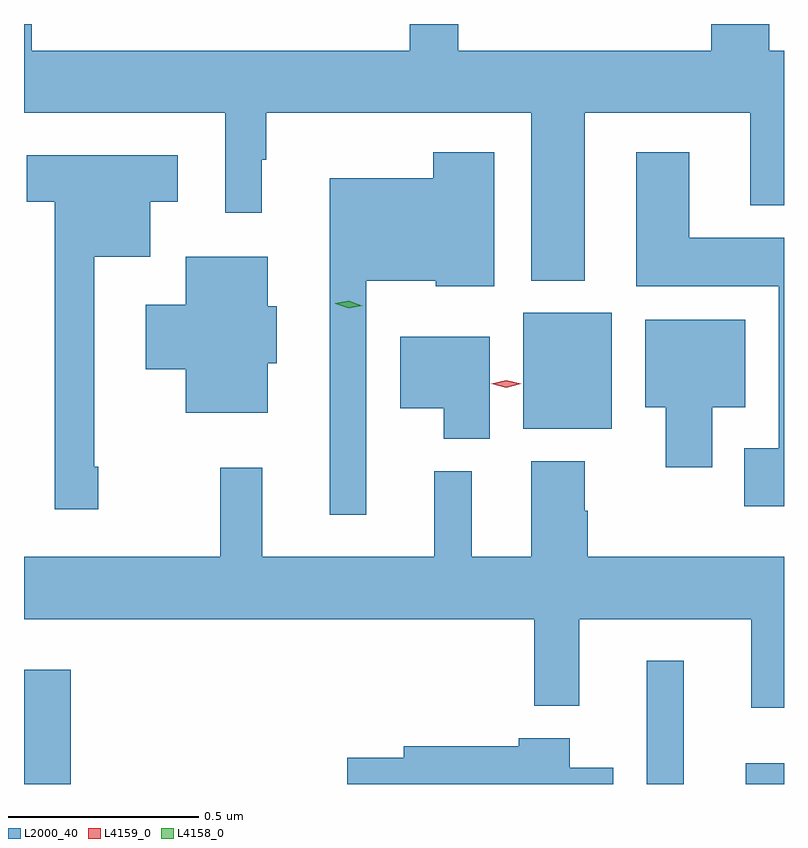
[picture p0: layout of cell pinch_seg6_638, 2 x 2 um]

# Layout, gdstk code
import gdstk
lib = gdstk.Library(unit=1e-6, precision=1e-09)
def R(c, l, rs):  # rectangles x0, y0, x1, y1
    for r in rs: c.add(gdstk.rectangle(r[:2], r[2:], *l))
def P(c, l, *ps):  # polygons
    for p in ps: c.add(gdstk.Polygon(p, *l))
L2000_40 = (2000, 40)
L4158_0 = (4158, 0)
L4159_0 = (4159, 0)

pinch_seg6_638 = lib.new_cell('pinch_seg6_638')
R(pinch_seg6_638, L2000_40, [(495.044,973.542,495.167,973.843), (496.683,973.542,496.78,973.867), (496.943,973.542,497.044,973.597), (496.358,974.477,496.591,974.782)])
P(pinch_seg6_638, L2000_40, [(496.519,975.308),(496.955,975.308),(496.955,975.065),(497.044,975.065),(497.044,975.472),(497.005,975.472),(497.005,975.542),(496.853,975.542),(496.853,975.472),(496.187,975.472),(496.187,975.542),(496.059,975.542),(496.059,975.472),(495.064,975.472),(495.064,975.542),(495.044,975.542),(495.044,975.308),(495.573,975.308),(495.573,975.045),(495.67,975.045),(495.67,975.185),(495.682,975.185),(495.682,975.308),(496.379,975.308),(496.379,974.867),(496.519,974.867)],
  [(497.044,974.98),(496.795,974.98),(496.795,975.205),(496.655,975.205),(496.655,974.852),(497.03,974.852),(497.03,974.425),(496.94,974.425),(496.94,974.273),(497.044,974.273)],
  [(495.945,974.867),(496.128,974.867),(496.128,974.852),(496.282,974.852),(496.282,975.205),(496.121,975.205),(496.121,975.136),(495.848,975.136),(495.848,974.25),(495.945,974.25)],
  [(495.239,974.377),(495.229,974.377),(495.229,974.93),(495.376,974.93),(495.376,975.074),(495.448,975.074),(495.448,975.196),(495.051,975.196),(495.051,975.074),(495.125,975.074),(495.125,974.265),(495.239,974.265)],
  [(495.685,974.649),(495.709,974.649),(495.709,974.799),(495.685,974.799),(495.685,974.929),(495.47,974.929),(495.47,974.803),(495.365,974.803),(495.365,974.633),(495.47,974.633),(495.47,974.519),(495.685,974.519)],
  [(496.855,974.534),(496.942,974.534),(496.942,974.764),(496.679,974.764),(496.679,974.534),(496.733,974.534),(496.733,974.376),(496.855,974.376)],
  [(496.27,974.719),(496.034,974.719),(496.034,974.531),(496.148,974.531),(496.148,974.45),(496.27,974.45)],
  [(497.044,974.14),(496.527,974.14),(496.527,974.261),(496.519,974.261),(496.519,974.392),(496.379,974.392),(496.379,974.14),(496.222,974.14),(496.222,974.365),(496.124,974.365),(496.124,974.14),(495.671,974.14),(495.671,974.374),(495.561,974.374),(495.561,974.14),(495.044,974.14),(495.044,973.976),(496.387,973.976),(496.387,973.748),(496.505,973.748),(496.505,973.976),(496.958,973.976),(496.958,973.743),(497.044,973.743)],
  [(496.594,973.585),(496.48,973.585),(496.48,973.663),(496.346,973.663),(496.346,973.641),(496.043,973.641),(496.043,973.611),(495.894,973.611),(495.894,973.542),(496.594,973.542)])
P(pinch_seg6_638, L4158_0, [(495.898,974.794),(495.863,974.806),(495.863,974.806),(495.863,974.807),(495.899,974.814),(495.934,974.801),(495.934,974.801),(495.934,974.801)])
P(pinch_seg6_638, L4159_0, [(496.313,974.585),(496.274,974.595),(496.274,974.595),(496.274,974.595),(496.313,974.605),(496.352,974.595),(496.352,974.595),(496.352,974.595)])

lib.write_gds('pinch_seg6_638.gds')
